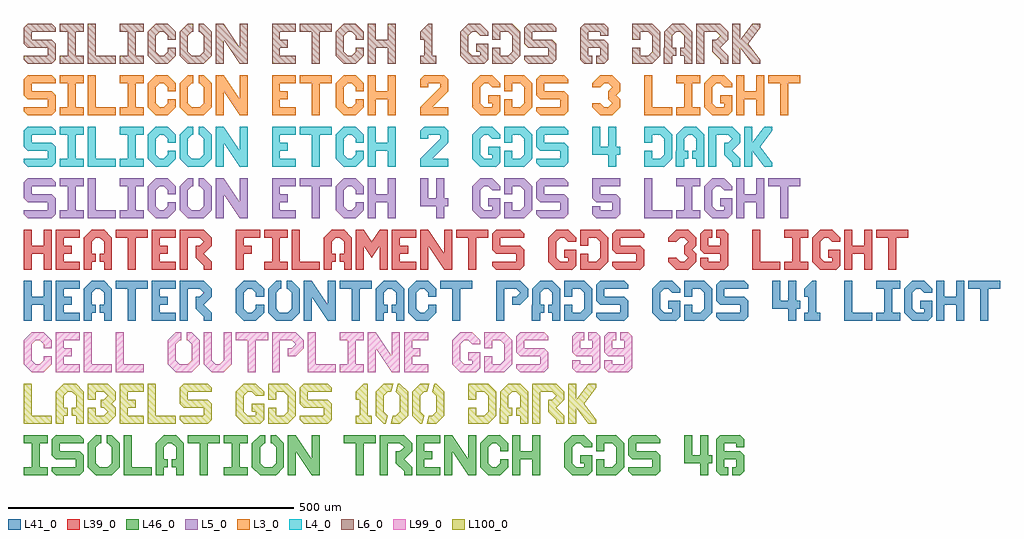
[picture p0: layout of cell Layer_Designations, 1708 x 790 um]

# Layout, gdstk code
import gdstk
lib = gdstk.Library(unit=1e-6, precision=1e-09)
def P(c, l, *ps):  # polygons
    for p in ps: c.add(gdstk.Polygon(p, *l))
L3_0 = (3, 0)
L4_0 = (4, 0)
L5_0 = (5, 0)
L6_0 = (6, 0)
L39_0 = (39, 0)
L41_0 = (41, 0)
L46_0 = (46, 0)
L99_0 = (99, 0)
L100_0 = (100, 0)

layer_designations = lib.new_cell('Layer_Designations')
P(layer_designations, L3_0, [(7,630),(0,637),(0,644),(42,644),(42,658),(7,658),(0,665),(0,693),(7,700),(49,700),(56,693),(56,686),(14,686),(14,672),(49,672),(56,665),(56,637),(49,630)],
  [(63,630),(63,644),(77,644),(77,686),(63,686),(63,700),(105,700),(105,686),(91,686),(91,644),(105,644),(105,630)],
  [(112,630),(112,700),(126,700),(126,644),(161,644),(161,630)],
  [(168,630),(168,644),(182,644),(182,686),(168,686),(168,700),(210,700),(210,686),(196,686),(196,644),(210,644),(210,630)],
  [(231,630),(217,644),(217,686),(231,700),(252,700),(266,686),(266,672),(252,672),(252,679),(245,686),(238,686),(231,679),(231,651),(238,644),(245,644),(252,651),(252,658),(266,658),(266,644),(252,630)],
  [(287,630),(273,644),(273,686),(287,700),(296.1,700),(296.1,686),(294,686),(287,679),(287,651),(294,644),(308,644),(315,651),(315,679),(308,686),(305.9,686),(305.9,700),(315,700),(329,686),(329,644),(315,630)],
  [(336,630),(336,700),(350,700),(378,658),(378,700),(392,700),(392,630),(378,630),(350,672),(350,630)],
  [(434,630),(434,700),(476,700),(476,686),(448,686),(448,672),(462,672),(462,658),(448,658),(448,644),(476,644),(476,630)],
  [(504,630),(504,686),(483,686),(483,700),(539,700),(539,686),(518,686),(518,630)],
  [(560,630),(546,644),(546,686),(560,700),(581,700),(595,686),(595,672),(581,672),(581,679),(574,686),(567,686),(560,679),(560,651),(567,644),(574,644),(581,651),(581,658),(595,658),(595,644),(581,630)],
  [(602,630),(602,700),(616,700),(616,672),(637,672),(637,700),(651,700),(651,630),(637,630),(637,658),(616,658),(616,630)],
  [(693,630),(693,644),(728,679),(728,686),(707,686),(707,679),(693,679),(693,693),(700,700),(735,700),(742,693),(742,672),(714,644),(742,644),(742,630)],
  [(798,630),(784,644),(784,686),(798,700),(819,700),(833,686),(833,679),(819,679),(812,686),(805,686),(798,679),(798,651),(805,644),(819,644),(819,651),(812,651),(812,665),(833,665),(833,637),(826,630)],
  [(840,630),(840,658),(854,658),(854,644),(868,644),(875,651),(875,679),(868,686),(854,686),(854,672),(840,672),(840,700),(875,700),(889,686),(889,644),(875,630)],
  [(903,630),(896,637),(896,644),(938,644),(938,658),(903,658),(896,665),(896,693),(903,700),(945,700),(952,693),(952,686),(910,686),(910,672),(945,672),(952,665),(952,637),(945,630)],
  [(1008,630),(994,644),(994,651),(1008,651),(1015,644),(1022,644),(1029,651),(1022,658),(1022,672),(1029,679),(1022,686),(1015,686),(1008,679),(994,679),(994,686),(1008,700),(1029,700),(1043,686),(1043,672),(1036,665),(1043,658),(1043,644),(1029,630)],
  [(1085,630),(1085,700),(1099,700),(1099,644),(1134,644),(1134,630)],
  [(1141,630),(1141,644),(1155,644),(1155,686),(1141,686),(1141,700),(1183,700),(1183,686),(1169,686),(1169,644),(1183,644),(1183,630)],
  [(1204,630),(1190,644),(1190,686),(1204,700),(1225,700),(1239,686),(1239,679),(1225,679),(1218,686),(1211,686),(1204,679),(1204,651),(1211,644),(1225,644),(1225,651),(1218,651),(1218,665),(1239,665),(1239,637),(1232,630)],
  [(1246,630),(1246,700),(1260,700),(1260,672),(1281,672),(1281,700),(1295,700),(1295,630),(1281,630),(1281,658),(1260,658),(1260,630)],
  [(1323,630),(1323,686),(1302,686),(1302,700),(1358,700),(1358,686),(1337,686),(1337,630)])
P(layer_designations, L4_0, [(7,540),(0,547),(0,554),(42,554),(42,568),(7,568),(0,575),(0,603),(7,610),(49,610),(56,603),(56,596),(14,596),(14,582),(49,582),(56,575),(56,547),(49,540)],
  [(63,540),(63,554),(77,554),(77,596),(63,596),(63,610),(105,610),(105,596),(91,596),(91,554),(105,554),(105,540)],
  [(112,540),(112,610),(126,610),(126,554),(161,554),(161,540)],
  [(168,540),(168,554),(182,554),(182,596),(168,596),(168,610),(210,610),(210,596),(196,596),(196,554),(210,554),(210,540)],
  [(231,540),(217,554),(217,596),(231,610),(252,610),(266,596),(266,582),(252,582),(252,589),(245,596),(238,596),(231,589),(231,561),(238,554),(245,554),(252,561),(252,568),(266,568),(266,554),(252,540)],
  [(287,540),(273,554),(273,596),(287,610),(296.1,610),(296.1,596),(294,596),(287,589),(287,561),(294,554),(308,554),(315,561),(315,589),(308,596),(305.9,596),(305.9,610),(315,610),(329,596),(329,554),(315,540)],
  [(336,540),(336,610),(350,610),(378,568),(378,610),(392,610),(392,540),(378,540),(350,582),(350,540)],
  [(434,540),(434,610),(476,610),(476,596),(448,596),(448,582),(462,582),(462,568),(448,568),(448,554),(476,554),(476,540)],
  [(504,540),(504,596),(483,596),(483,610),(539,610),(539,596),(518,596),(518,540)],
  [(560,540),(546,554),(546,596),(560,610),(581,610),(595,596),(595,582),(581,582),(581,589),(574,596),(567,596),(560,589),(560,561),(567,554),(574,554),(581,561),(581,568),(595,568),(595,554),(581,540)],
  [(602,540),(602,610),(616,610),(616,582),(637,582),(637,610),(651,610),(651,540),(637,540),(637,568),(616,568),(616,540)],
  [(693,540),(693,554),(728,589),(728,596),(707,596),(707,589),(693,589),(693,603),(700,610),(735,610),(742,603),(742,582),(714,554),(742,554),(742,540)],
  [(798,540),(784,554),(784,596),(798,610),(819,610),(833,596),(833,589),(819,589),(812,596),(805,596),(798,589),(798,561),(805,554),(819,554),(819,561),(812,561),(812,575),(833,575),(833,547),(826,540)],
  [(840,540),(840,568),(854,568),(854,554),(868,554),(875,561),(875,589),(868,596),(854,596),(854,582),(840,582),(840,610),(875,610),(889,596),(889,554),(875,540)],
  [(903,540),(896,547),(896,554),(938,554),(938,568),(903,568),(896,575),(896,603),(903,610),(945,610),(952,603),(952,596),(910,596),(910,582),(945,582),(952,575),(952,547),(945,540)],
  [(1022,540),(1022,561),(994,561),(994,610),(1008,610),(1008,575),(1022,575),(1022,610),(1036,610),(1036,575),(1043,575),(1043,561),(1036,561),(1036,540)],
  [(1085,540),(1085,568),(1099,568),(1099,554),(1113,554),(1120,561),(1120,589),(1113,596),(1099,596),(1099,582),(1085,582),(1085,610),(1120,610),(1134,596),(1134,554),(1120,540)],
  [(1140.93,540),(1141,596),(1155,610),(1176.07,610),(1190,596),(1190,540),(1176.07,540),(1176.07,554),(1169,554),(1169,568),(1176.07,568),(1176.07,589),(1169,596),(1162,596),(1155,589),(1155,568),(1162,568),(1162,554),(1155,554),(1155,540)],
  [(1197,540),(1197,610),(1239,610),(1253,596),(1253,582),(1239,568),(1253,554),(1253,540),(1239,540),(1239,547),(1225,561),(1225,582),(1232,582),(1239,589),(1232,596),(1211,596),(1211,540)],
  [(1260,540),(1260,610),(1274,610),(1274,582),(1295,610),(1309,610),(1309,603),(1288,575),(1309,547),(1309,540),(1295,540),(1274,568),(1274,540)])
P(layer_designations, L5_0, [(7,450),(0,457),(0,464),(42,464),(42,478),(7,478),(0,485),(0,513),(7,520),(49,520),(56,513),(56,506),(14,506),(14,492),(49,492),(56,485),(56,457),(49,450)],
  [(63,450),(63,464),(77,464),(77,506),(63,506),(63,520),(105,520),(105,506),(91,506),(91,464),(105,464),(105,450)],
  [(112,450),(112,520),(126,520),(126,464),(161,464),(161,450)],
  [(168,450),(168,464),(182,464),(182,506),(168,506),(168,520),(210,520),(210,506),(196,506),(196,464),(210,464),(210,450)],
  [(231,450),(217,464),(217,506),(231,520),(252,520),(266,506),(266,492),(252,492),(252,499),(245,506),(238,506),(231,499),(231,471),(238,464),(245,464),(252,471),(252,478),(266,478),(266,464),(252,450)],
  [(287,450),(273,464),(273,506),(287,520),(296.1,520),(296.1,506),(294,506),(287,499),(287,471),(294,464),(308,464),(315,471),(315,499),(308,506),(305.9,506),(305.9,520),(315,520),(329,506),(329,464),(315,450)],
  [(336,450),(336,520),(350,520),(378,478),(378,520),(392,520),(392,450),(378,450),(350,492),(350,450)],
  [(434,450),(434,520),(476,520),(476,506),(448,506),(448,492),(462,492),(462,478),(448,478),(448,464),(476,464),(476,450)],
  [(504,450),(504,506),(483,506),(483,520),(539,520),(539,506),(518,506),(518,450)],
  [(560,450),(546,464),(546,506),(560,520),(581,520),(595,506),(595,492),(581,492),(581,499),(574,506),(567,506),(560,499),(560,471),(567,464),(574,464),(581,471),(581,478),(595,478),(595,464),(581,450)],
  [(602,450),(602,520),(616,520),(616,492),(637,492),(637,520),(651,520),(651,450),(637,450),(637,478),(616,478),(616,450)],
  [(721,450),(721,471),(693,471),(693,520),(707,520),(707,485),(721,485),(721,520),(735,520),(735,485),(742,485),(742,471),(735,471),(735,450)],
  [(798,450),(784,464),(784,506),(798,520),(819,520),(833,506),(833,499),(819,499),(812,506),(805,506),(798,499),(798,471),(805,464),(819,464),(819,471),(812,471),(812,485),(833,485),(833,457),(826,450)],
  [(840,450),(840,478),(854,478),(854,464),(868,464),(875,471),(875,499),(868,506),(854,506),(854,492),(840,492),(840,520),(875,520),(889,506),(889,464),(875,450)],
  [(903,450),(896,457),(896,464),(938,464),(938,478),(903,478),(896,485),(896,513),(903,520),(945,520),(952,513),(952,506),(910,506),(910,492),(945,492),(952,485),(952,457),(945,450)],
  [(1001,450),(994,457),(994,471),(1008,471),(1008,464),(1029,464),(1029,478),(1001,478),(994,485),(994,520),(1043,520),(1043,506),(1008,506),(1008,492),(1036,492),(1043,485),(1043,457),(1036,450)],
  [(1085,450),(1085,520),(1099,520),(1099,464),(1134,464),(1134,450)],
  [(1141,450),(1141,464),(1155,464),(1155,506),(1141,506),(1141,520),(1183,520),(1183,506),(1169,506),(1169,464),(1183,464),(1183,450)],
  [(1204,450),(1190,464),(1190,506),(1204,520),(1225,520),(1239,506),(1239,499),(1225,499),(1218,506),(1211,506),(1204,499),(1204,471),(1211,464),(1225,464),(1225,471),(1218,471),(1218,485),(1239,485),(1239,457),(1232,450)],
  [(1246,450),(1246,520),(1260,520),(1260,492),(1281,492),(1281,520),(1295,520),(1295,450),(1281,450),(1281,478),(1260,478),(1260,450)],
  [(1323,450),(1323,506),(1302,506),(1302,520),(1358,520),(1358,506),(1337,506),(1337,450)])
P(layer_designations, L6_0, [(7,720),(0,727),(0,734),(42,734),(42,748),(7,748),(0,755),(0,783),(7,790),(49,790),(56,783),(56,776),(14,776),(14,762),(49,762),(56,755),(56,727),(49,720)],
  [(63,720),(63,734),(77,734),(77,776),(63,776),(63,790),(105,790),(105,776),(91,776),(91,734),(105,734),(105,720)],
  [(112,720),(112,790),(126,790),(126,734),(161,734),(161,720)],
  [(168,720),(168,734),(182,734),(182,776),(168,776),(168,790),(210,790),(210,776),(196,776),(196,734),(210,734),(210,720)],
  [(231,720),(217,734),(217,776),(231,790),(252,790),(266,776),(266,762),(252,762),(252,769),(245,776),(238,776),(231,769),(231,741),(238,734),(245,734),(252,741),(252,748),(266,748),(266,734),(252,720)],
  [(287,720),(273,734),(273,776),(287,790),(296.1,790),(296.1,776),(294,776),(287,769),(287,741),(294,734),(308,734),(315,741),(315,769),(308,776),(305.9,776),(305.9,790),(315,790),(329,776),(329,734),(315,720)],
  [(336,720),(336,790),(350,790),(378,748),(378,790),(392,790),(392,720),(378,720),(350,762),(350,720)],
  [(434,720),(434,790),(476,790),(476,776),(448,776),(448,762),(462,762),(462,748),(448,748),(448,734),(476,734),(476,720)],
  [(504,720),(504,776),(483,776),(483,790),(539,790),(539,776),(518,776),(518,720)],
  [(560,720),(546,734),(546,776),(560,790),(581,790),(595,776),(595,762),(581,762),(581,769),(574,776),(567,776),(560,769),(560,741),(567,734),(574,734),(581,741),(581,748),(595,748),(595,734),(581,720)],
  [(602,720),(602,790),(616,790),(616,762),(637,762),(637,790),(651,790),(651,720),(637,720),(637,748),(616,748),(616,720)],
  [(693,720),(693,734),(700,734),(700,762),(693,762),(693,776),(707,790),(714,790),(714,734),(721,734),(721,720)],
  [(777,720),(763,734),(763,776),(777,790),(798,790),(812,776),(812,769),(798,769),(791,776),(784,776),(777,769),(777,741),(784,734),(798,734),(798,741),(791,741),(791,755),(812,755),(812,727),(805,720)],
  [(819,720),(819,748),(833,748),(833,734),(847,734),(854,741),(854,769),(847,776),(833,776),(833,762),(819,762),(819,790),(854,790),(868,776),(868,734),(854,720)],
  [(882,720),(875,727),(875,734),(917,734),(917,748),(882,748),(875,755),(875,783),(882,790),(924,790),(931,783),(931,776),(889,776),(889,762),(924,762),(931,755),(931,727),(924,720)],
  [(980,720),(973,727),(973,783),(980,790),(1015,790),(1022,783),(1022,769),(1008,769),(1008,776),(987,776),(987,762),(1015,762),(1022,755),(1022,727),(1015,720),(1001,720),(1001,734),(1008,734),(1008,748),(987,748),(987,734),(994,734),(994,720)],
  [(1064,720),(1064,748),(1078,748),(1078,734),(1092,734),(1099,741),(1099,769),(1092,776),(1078,776),(1078,762),(1064,762),(1064,790),(1099,790),(1113,776),(1113,734),(1099,720)],
  [(1119.93,720),(1120,776),(1134,790),(1155.07,790),(1169,776),(1169,720),(1155.07,720),(1155.07,734),(1148,734),(1148,748),(1155.07,748),(1155.07,769),(1148,776),(1141,776),(1134,769),(1134,748),(1141,748),(1141,734),(1134,734),(1134,720)],
  [(1176,720),(1176,790),(1218,790),(1232,776),(1232,762),(1218,748),(1232,734),(1232,720),(1218,720),(1218,727),(1204,741),(1204,762),(1211,762),(1218,769),(1211,776),(1190,776),(1190,720)],
  [(1239,720),(1239,790),(1253,790),(1253,762),(1274,790),(1288,790),(1288,783),(1267,755),(1288,727),(1288,720),(1274,720),(1253,748),(1253,720)])
P(layer_designations, L39_0, [(0,360),(0,430),(14,430),(14,402),(35,402),(35,430),(49,430),(49,360),(35,360),(35,388),(14,388),(14,360)],
  [(56,360),(56,430),(98,430),(98,416),(70,416),(70,402),(84,402),(84,388),(70,388),(70,374),(98,374),(98,360)],
  [(104.93,360),(105,416),(119,430),(140.07,430),(154,416),(154,360),(140.07,360),(140.07,374),(133,374),(133,388),(140.07,388),(140.07,409),(133,416),(126,416),(119,409),(119,388),(126,388),(126,374),(119,374),(119,360)],
  [(182,360),(182,416),(161,416),(161,430),(217,430),(217,416),(196,416),(196,360)],
  [(224,360),(224,430),(266,430),(266,416),(238,416),(238,402),(252,402),(252,388),(238,388),(238,374),(266,374),(266,360)],
  [(273,360),(273,430),(315,430),(329,416),(329,402),(315,388),(329,374),(329,360),(315,360),(315,367),(301,381),(301,402),(308,402),(315,409),(308,416),(287,416),(287,360)],
  [(371,360),(371,430),(413,430),(413,416),(385,416),(385,402),(399,402),(399,388),(385,388),(385,360)],
  [(420,360),(420,374),(434,374),(434,416),(420,416),(420,430),(462,430),(462,416),(448,416),(448,374),(462,374),(462,360)],
  [(469,360),(469,430),(483,430),(483,374),(518,374),(518,360)],
  [(524.93,360),(525,416),(539,430),(560.07,430),(574,416),(574,360),(560.07,360),(560.07,374),(553,374),(553,388),(560.07,388),(560.07,409),(553,416),(546,416),(539,409),(539,388),(546,388),(546,374),(539,374),(539,360)],
  [(581,360),(581,430),(595,430),(609,409),(623,430),(637,430),(637,360),(623,360),(623,402),(609,381),(595,402),(595,360)],
  [(644,360),(644,430),(686,430),(686,416),(658,416),(658,402),(672,402),(672,388),(658,388),(658,374),(686,374),(686,360)],
  [(693,360),(693,430),(707,430),(735,388),(735,430),(749,430),(749,360),(735,360),(707,402),(707,360)],
  [(777,360),(777,416),(756,416),(756,430),(812,430),(812,416),(791,416),(791,360)],
  [(826,360),(819,367),(819,374),(861,374),(861,388),(826,388),(819,395),(819,423),(826,430),(868,430),(875,423),(875,416),(833,416),(833,402),(868,402),(875,395),(875,367),(868,360)],
  [(931,360),(917,374),(917,416),(931,430),(952,430),(966,416),(966,409),(952,409),(945,416),(938,416),(931,409),(931,381),(938,374),(952,374),(952,381),(945,381),(945,395),(966,395),(966,367),(959,360)],
  [(973,360),(973,388),(987,388),(987,374),(1001,374),(1008,381),(1008,409),(1001,416),(987,416),(987,402),(973,402),(973,430),(1008,430),(1022,416),(1022,374),(1008,360)],
  [(1036,360),(1029,367),(1029,374),(1071,374),(1071,388),(1036,388),(1029,395),(1029,423),(1036,430),(1078,430),(1085,423),(1085,416),(1043,416),(1043,402),(1078,402),(1085,395),(1085,367),(1078,360)],
  [(1141,360),(1127,374),(1127,381),(1141,381),(1148,374),(1155,374),(1162,381),(1155,388),(1155,402),(1162,409),(1155,416),(1148,416),(1141,409),(1127,409),(1127,416),(1141,430),(1162,430),(1176,416),(1176,402),(1169,395),(1176,388),(1176,374),(1162,360)],
  [(1190,360),(1183,367),(1183,381),(1197,381),(1197,374),(1218,374),(1218,388),(1190,388),(1183,395),(1183,423),(1190,430),(1204,430),(1204,416),(1197,416),(1197,402),(1218,402),(1218,416),(1211,416),(1211,430),(1225,430),(1232,423),(1232,367),(1225,360)],
  [(1274,360),(1274,430),(1288,430),(1288,374),(1323,374),(1323,360)],
  [(1330,360),(1330,374),(1344,374),(1344,416),(1330,416),(1330,430),(1372,430),(1372,416),(1358,416),(1358,374),(1372,374),(1372,360)],
  [(1393,360),(1379,374),(1379,416),(1393,430),(1414,430),(1428,416),(1428,409),(1414,409),(1407,416),(1400,416),(1393,409),(1393,381),(1400,374),(1414,374),(1414,381),(1407,381),(1407,395),(1428,395),(1428,367),(1421,360)],
  [(1435,360),(1435,430),(1449,430),(1449,402),(1470,402),(1470,430),(1484,430),(1484,360),(1470,360),(1470,388),(1449,388),(1449,360)],
  [(1512,360),(1512,416),(1491,416),(1491,430),(1547,430),(1547,416),(1526,416),(1526,360)])
P(layer_designations, L41_0, [(0,270),(0,340),(14,340),(14,312),(35,312),(35,340),(49,340),(49,270),(35,270),(35,298),(14,298),(14,270)],
  [(56,270),(56,340),(98,340),(98,326),(70,326),(70,312),(84,312),(84,298),(70,298),(70,284),(98,284),(98,270)],
  [(104.93,270),(105,326),(119,340),(140.07,340),(154,326),(154,270),(140.07,270),(140.07,284),(133,284),(133,298),(140.07,298),(140.07,319),(133,326),(126,326),(119,319),(119,298),(126,298),(126,284),(119,284),(119,270)],
  [(182,270),(182,326),(161,326),(161,340),(217,340),(217,326),(196,326),(196,270)],
  [(224,270),(224,340),(266,340),(266,326),(238,326),(238,312),(252,312),(252,298),(238,298),(238,284),(266,284),(266,270)],
  [(273,270),(273,340),(315,340),(329,326),(329,312),(315,298),(329,284),(329,270),(315,270),(315,277),(301,291),(301,312),(308,312),(315,319),(308,326),(287,326),(287,270)],
  [(385,270),(371,284),(371,326),(385,340),(406,340),(420,326),(420,312),(406,312),(406,319),(399,326),(392,326),(385,319),(385,291),(392,284),(399,284),(406,291),(406,298),(420,298),(420,284),(406,270)],
  [(441,270),(427,284),(427,326),(441,340),(450.1,340),(450.1,326),(448,326),(441,319),(441,291),(448,284),(462,284),(469,291),(469,319),(462,326),(459.9,326),(459.9,340),(469,340),(483,326),(483,284),(469,270)],
  [(490,270),(490,340),(504,340),(532,298),(532,340),(546,340),(546,270),(532,270),(504,312),(504,270)],
  [(574,270),(574,326),(553,326),(553,340),(609,340),(609,326),(588,326),(588,270)],
  [(615.93,270),(616,326),(630,340),(651.07,340),(665,326),(665,270),(651.07,270),(651.07,284),(644,284),(644,298),(651.07,298),(651.07,319),(644,326),(637,326),(630,319),(630,298),(637,298),(637,284),(630,284),(630,270)],
  [(686,270),(672,284),(672,326),(686,340),(707,340),(721,326),(721,312),(707,312),(707,319),(700,326),(693,326),(686,319),(686,291),(693,284),(700,284),(707,291),(707,298),(721,298),(721,284),(707,270)],
  [(749,270),(749,326),(728,326),(728,340),(784,340),(784,326),(763,326),(763,270)],
  [(826,270),(826,340),(868,340),(882,326),(882,312),(868,298),(854,298),(854,312),(861,312),(868,319),(861,326),(840,326),(840,270)],
  [(888.93,270),(889,326),(903,340),(924.07,340),(938,326),(938,270),(924.07,270),(924.07,284),(917,284),(917,298),(924.07,298),(924.07,319),(917,326),(910,326),(903,319),(903,298),(910,298),(910,284),(903,284),(903,270)],
  [(945,270),(945,298),(959,298),(959,284),(973,284),(980,291),(980,319),(973,326),(959,326),(959,312),(945,312),(945,340),(980,340),(994,326),(994,284),(980,270)],
  [(1008,270),(1001,277),(1001,284),(1043,284),(1043,298),(1008,298),(1001,305),(1001,333),(1008,340),(1050,340),(1057,333),(1057,326),(1015,326),(1015,312),(1050,312),(1057,305),(1057,277),(1050,270)],
  [(1113,270),(1099,284),(1099,326),(1113,340),(1134,340),(1148,326),(1148,319),(1134,319),(1127,326),(1120,326),(1113,319),(1113,291),(1120,284),(1134,284),(1134,291),(1127,291),(1127,305),(1148,305),(1148,277),(1141,270)],
  [(1155,270),(1155,298),(1169,298),(1169,284),(1183,284),(1190,291),(1190,319),(1183,326),(1169,326),(1169,312),(1155,312),(1155,340),(1190,340),(1204,326),(1204,284),(1190,270)],
  [(1218,270),(1211,277),(1211,284),(1253,284),(1253,298),(1218,298),(1211,305),(1211,333),(1218,340),(1260,340),(1267,333),(1267,326),(1225,326),(1225,312),(1260,312),(1267,305),(1267,277),(1260,270)],
  [(1337,270),(1337,291),(1309,291),(1309,340),(1323,340),(1323,305),(1337,305),(1337,340),(1351,340),(1351,305),(1358,305),(1358,291),(1351,291),(1351,270)],
  [(1365,270),(1365,284),(1372,284),(1372,312),(1365,312),(1365,326),(1379,340),(1386,340),(1386,284),(1393,284),(1393,270)],
  [(1435,270),(1435,340),(1449,340),(1449,284),(1484,284),(1484,270)],
  [(1491,270),(1491,284),(1505,284),(1505,326),(1491,326),(1491,340),(1533,340),(1533,326),(1519,326),(1519,284),(1533,284),(1533,270)],
  [(1554,270),(1540,284),(1540,326),(1554,340),(1575,340),(1589,326),(1589,319),(1575,319),(1568,326),(1561,326),(1554,319),(1554,291),(1561,284),(1575,284),(1575,291),(1568,291),(1568,305),(1589,305),(1589,277),(1582,270)],
  [(1596,270),(1596,340),(1610,340),(1610,312),(1631,312),(1631,340),(1645,340),(1645,270),(1631,270),(1631,298),(1610,298),(1610,270)],
  [(1673,270),(1673,326),(1652,326),(1652,340),(1708,340),(1708,326),(1687,326),(1687,270)])
P(layer_designations, L46_0, [(0,0),(0,14),(14,14),(14,56),(0,56),(0,70),(42,70),(42,56),(28,56),(28,14),(42,14),(42,0)],
  [(56,0),(49,7),(49,14),(91,14),(91,28),(56,28),(49,35),(49,63),(56,70),(98,70),(105,63),(105,56),(63,56),(63,42),(98,42),(105,35),(105,7),(98,0)],
  [(126,0),(112,14),(112,56),(126,70),(135.1,70),(135.1,56),(133,56),(126,49),(126,21),(133,14),(147,14),(154,21),(154,49),(147,56),(144.9,56),(144.9,70),(154,70),(168,56),(168,14),(154,0)],
  [(175,0),(175,70),(189,70),(189,14),(224,14),(224,0)],
  [(230.93,0),(231,56),(245,70),(266.07,70),(280,56),(280,0),(266.07,0),(266.07,14),(259,14),(259,28),(266.07,28),(266.07,49),(259,56),(252,56),(245,49),(245,28),(252,28),(252,14),(245,14),(245,0)],
  [(308,0),(308,56),(287,56),(287,70),(343,70),(343,56),(322,56),(322,0)],
  [(350,0),(350,14),(364,14),(364,56),(350,56),(350,70),(392,70),(392,56),(378,56),(378,14),(392,14),(392,0)],
  [(413,0),(399,14),(399,56),(413,70),(422.1,70),(422.1,56),(420,56),(413,49),(413,21),(420,14),(434,14),(441,21),(441,49),(434,56),(431.9,56),(431.9,70),(441,70),(455,56),(455,14),(441,0)],
  [(462,0),(462,70),(476,70),(504,28),(504,70),(518,70),(518,0),(504,0),(476,42),(476,0)],
  [(581,0),(581,56),(560,56),(560,70),(616,70),(616,56),(595,56),(595,0)],
  [(623,0),(623,70),(665,70),(679,56),(679,42),(665,28),(679,14),(679,0),(665,0),(665,7),(651,21),(651,42),(658,42),(665,49),(658,56),(637,56),(637,0)],
  [(686,0),(686,70),(728,70),(728,56),(700,56),(700,42),(714,42),(714,28),(700,28),(700,14),(728,14),(728,0)],
  [(735,0),(735,70),(749,70),(777,28),(777,70),(791,70),(791,0),(777,0),(749,42),(749,0)],
  [(812,0),(798,14),(798,56),(812,70),(833,70),(847,56),(847,42),(833,42),(833,49),(826,56),(819,56),(812,49),(812,21),(819,14),(826,14),(833,21),(833,28),(847,28),(847,14),(833,0)],
  [(854,0),(854,70),(868,70),(868,42),(889,42),(889,70),(903,70),(903,0),(889,0),(889,28),(868,28),(868,0)],
  [(959,0),(945,14),(945,56),(959,70),(980,70),(994,56),(994,49),(980,49),(973,56),(966,56),(959,49),(959,21),(966,14),(980,14),(980,21),(973,21),(973,35),(994,35),(994,7),(987,0)],
  [(1001,0),(1001,28),(1015,28),(1015,14),(1029,14),(1036,21),(1036,49),(1029,56),(1015,56),(1015,42),(1001,42),(1001,70),(1036,70),(1050,56),(1050,14),(1036,0)],
  [(1064,0),(1057,7),(1057,14),(1099,14),(1099,28),(1064,28),(1057,35),(1057,63),(1064,70),(1106,70),(1113,63),(1113,56),(1071,56),(1071,42),(1106,42),(1113,35),(1113,7),(1106,0)],
  [(1183,0),(1183,21),(1155,21),(1155,70),(1169,70),(1169,35),(1183,35),(1183,70),(1197,70),(1197,35),(1204,35),(1204,21),(1197,21),(1197,0)],
  [(1218,0),(1211,7),(1211,63),(1218,70),(1253,70),(1260,63),(1260,49),(1246,49),(1246,56),(1225,56),(1225,42),(1253,42),(1260,35),(1260,7),(1253,0),(1239,0),(1239,14),(1246,14),(1246,28),(1225,28),(1225,14),(1232,14),(1232,0)])
P(layer_designations, L99_0, [(14,180),(0,194),(0,236),(14,250),(35,250),(49,236),(49,222),(35,222),(35,229),(28,236),(21,236),(14,229),(14,201),(21,194),(28,194),(35,201),(35,208),(49,208),(49,194),(35,180)],
  [(56,180),(56,250),(98,250),(98,236),(70,236),(70,222),(84,222),(84,208),(70,208),(70,194),(98,194),(98,180)],
  [(105,180),(105,250),(119,250),(119,194),(154,194),(154,180)],
  [(161,180),(161,250),(175,250),(175,194),(210,194),(210,180)],
  [(266,180),(252,194),(252,236),(266,250),(275.1,250),(275.1,236),(273,236),(266,229),(266,201),(273,194),(287,194),(294,201),(294,229),(287,236),(284.9,236),(284.9,250),(294,250),(308,236),(308,194),(294,180)],
  [(329,180),(315,194),(315,250),(329,250),(329,201),(336,194),(343,194),(350,201),(350,250),(364,250),(364,194),(350,180)],
  [(392,180),(392,236),(371,236),(371,250),(427,250),(427,236),(406,236),(406,180)],
  [(434,180),(434,250),(476,250),(490,236),(490,222),(476,208),(462,208),(462,222),(469,222),(476,229),(469,236),(448,236),(448,180)],
  [(497,180),(497,250),(511,250),(511,194),(546,194),(546,180)],
  [(553,180),(553,194),(567,194),(567,236),(553,236),(553,250),(595,250),(595,236),(581,236),(581,194),(595,194),(595,180)],
  [(602,180),(602,250),(616,250),(644,208),(644,250),(658,250),(658,180),(644,180),(616,222),(616,180)],
  [(665,180),(665,250),(707,250),(707,236),(679,236),(679,222),(693,222),(693,208),(679,208),(679,194),(707,194),(707,180)],
  [(763,180),(749,194),(749,236),(763,250),(784,250),(798,236),(798,229),(784,229),(777,236),(770,236),(763,229),(763,201),(770,194),(784,194),(784,201),(777,201),(777,215),(798,215),(798,187),(791,180)],
  [(805,180),(805,208),(819,208),(819,194),(833,194),(840,201),(840,229),(833,236),(819,236),(819,222),(805,222),(805,250),(840,250),(854,236),(854,194),(840,180)],
  [(868,180),(861,187),(861,194),(903,194),(903,208),(868,208),(861,215),(861,243),(868,250),(910,250),(917,243),(917,236),(875,236),(875,222),(910,222),(917,215),(917,187),(910,180)],
  [(966,180),(959,187),(959,201),(973,201),(973,194),(994,194),(994,208),(966,208),(959,215),(959,243),(966,250),(980,250),(980,236),(973,236),(973,222),(994,222),(994,236),(987,236),(987,250),(1001,250),(1008,243),(1008,187),(1001,180)],
  [(1022,180),(1015,187),(1015,201),(1029,201),(1029,194),(1050,194),(1050,208),(1022,208),(1015,215),(1015,243),(1022,250),(1036,250),(1036,236),(1029,236),(1029,222),(1050,222),(1050,236),(1043,236),(1043,250),(1057,250),(1064,243),(1064,187),(1057,180)])
P(layer_designations, L100_0, [(0,90),(0,160),(14,160),(14,104),(49,104),(49,90)],
  [(55.93,90),(56,146),(70,160),(91.07,160),(105,146),(105,90),(91.07,90),(91.07,104),(84,104),(84,118),(91.07,118),(91.07,139),(84,146),(77,146),(70,139),(70,118),(77,118),(77,104),(70,104),(70,90)],
  [(112,90),(112,118),(126,118),(126,104),(140,104),(147,111),(140,118),(134.4,118),(134.4,132),(140,132),(147,139),(140,146),(126,146),(126,132),(112,132),(112,160),(147,160),(161,146),(161,132),(154,125),(161,118),(161,104),(147,90)],
  [(168,90),(168,160),(210,160),(210,146),(182,146),(182,132),(196,132),(196,118),(182,118),(182,104),(210,104),(210,90)],
  [(217,90),(217,160),(231,160),(231,104),(266,104),(266,90)],
  [(280,90),(273,97),(273,104),(315,104),(315,118),(280,118),(273,125),(273,153),(280,160),(322,160),(329,153),(329,146),(287,146),(287,132),(322,132),(329,125),(329,97),(322,90)],
  [(385,90),(371,104),(371,146),(385,160),(406,160),(420,146),(420,139),(406,139),(399,146),(392,146),(385,139),(385,111),(392,104),(406,104),(406,111),(399,111),(399,125),(420,125),(420,97),(413,90)],
  [(427,90),(427,118),(441,118),(441,104),(455,104),(462,111),(462,139),(455,146),(441,146),(441,132),(427,132),(427,160),(462,160),(476,146),(476,104),(462,90)],
  [(490,90),(483,97),(483,104),(525,104),(525,118),(490,118),(483,125),(483,153),(490,160),(532,160),(539,153),(539,146),(497,146),(497,132),(532,132),(539,125),(539,97),(532,90)],
  [(581,90),(581,104),(588,104),(588,132),(581,132),(581,146),(595,160),(602,160),(602,104),(609,104),(609,90)],
  [(630,90),(616,104),(616,146),(630,160),(646.1,160),(642.6,146),(637,146),(630,139),(630,111),(637,104),(633.5,90)],
  [(641.9,90),(645.4,104),(651,104),(658,111),(658,139),(651,146),(654.5,160),(658,160),(672,146),(672,104),(658,90)],
  [(693,90),(679,104),(679,146),(693,160),(709.1,160),(705.6,146),(700,146),(693,139),(693,111),(700,104),(696.5,90)],
  [(704.9,90),(708.4,104),(714,104),(721,111),(721,139),(714,146),(717.5,160),(721,160),(735,146),(735,104),(721,90)],
  [(777,90),(777,118),(791,118),(791,104),(805,104),(812,111),(812,139),(805,146),(791,146),(791,132),(777,132),(777,160),(812,160),(826,146),(826,104),(812,90)],
  [(832.93,90),(833,146),(847,160),(868.07,160),(882,146),(882,90),(868.07,90),(868.07,104),(861,104),(861,118),(868.07,118),(868.07,139),(861,146),(854,146),(847,139),(847,118),(854,118),(854,104),(847,104),(847,90)],
  [(889,90),(889,160),(931,160),(945,146),(945,132),(931,118),(945,104),(945,90),(931,90),(931,97),(917,111),(917,132),(924,132),(931,139),(924,146),(903,146),(903,90)],
  [(952,90),(952,160),(966,160),(966,132),(987,160),(1001,160),(1001,153),(980,125),(1001,97),(1001,90),(987,90),(966,118),(966,90)])

lib.write_gds('Layer_Designations.gds')
